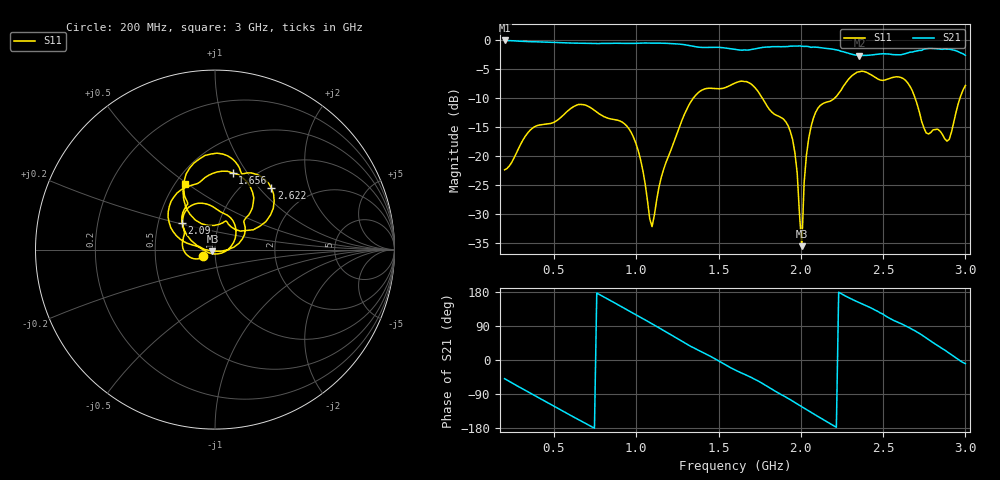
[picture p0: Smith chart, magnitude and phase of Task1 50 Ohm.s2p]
# HZ S RI R 50
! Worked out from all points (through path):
!   201 points, 200 MHz to 3 GHz, reference 50 ohm
!   highest |S21| = -0.11 dB at 200 MHz (marker M1); lowest = -2.7 dB at 2.356 GHz (marker M2)
!   group delay of S21, straight-line fit = 667 ps
!   lowest |S11| = -35.5 dB at 2.006 GHz (marker M3), VSWR 1.03, Z = 48.6 - j0.844 ohm
!   |S11| at or under -10 dB: start of sweep to 1.347 GHz; 1.766 GHz to 2.206 GHz (440.4 MHz wide, 22.2 % of centre); 2.694 GHz to 2.968 GHz (273.3 MHz wide, 9.65 % of centre)
!   S12 and S22 are empty: the file has one direction only
!   S11 on the Smith chart (normalised r, x): 200 MHz: 0.87, -0.07; 1.656 GHz: 0.81, +0.86; 2.09 GHz: 0.66, +0.21; 2.622 GHz: 1.33, +1.17; 3 GHz: 0.56, +0.49
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2e8  -0.0667 -0.0371  0.6436 -0.7493  0 0  0 0
4.24e8  -0.1802 0.0479  -0.2255 -0.9319  0 0  0 0
6.76e8  -0.114 0.2532  -0.8945 -0.2629  0 0  0 0
8.3e8  0.0331 0.2088  -0.8771 0.3166  0 0  0 0
9.7e8  0.1171 0.1078  -0.5536 0.7491  0 0  0 0
1.096e9  -0.0038 -0.0245  -0.0881 0.932  0 0  0 0
1.138e9  -0.0535 -0.00909  0.0802 0.9334  0 0  0 0
1.334e9  -0.2555 0.1514  0.723 0.5098  0 0  0 0
1.6e9  -0.012 0.425  0.7398 -0.3669  0 0  0 0
1.656e9  0.0976 0.4271  0.6511 -0.4966  0 0  0 0
1.936e9  0.1523 0.0594  -0.2233 -0.8536  0 0  0 0
1.978e9  0.0715 -0.000956  -0.3867 -0.794  0 0  0 0
2.006e9  -0.0145 -0.00869  -0.4855 -0.7353  0 0  0 0
2.034e9  -0.0992 0.0225  -0.5727 -0.6672  0 0  0 0
2.076e9  -0.1753 0.1188  -0.6824 -0.5352  0 0  0 0
2.09e9  -0.1845 0.1508  -0.7124 -0.4907  0 0  0 0
2.356e9  -0.0212 0.5326  -0.6405 0.3561  0 0  0 0
2.538e9  0.182 0.4275  -0.2643 0.7072  0 0  0 0
2.622e9  0.3143 0.3424  -0.0417 0.7515  0 0  0 0
2.762e9  0.1116 0.1126  0.4404 0.7133  0 0  0 0
2.888e9  -0.0051 0.1345  0.7712 0.3131  0 0  0 0
3e9  -0.1678 0.3681  0.7257 -0.1227  0 0  0 0
